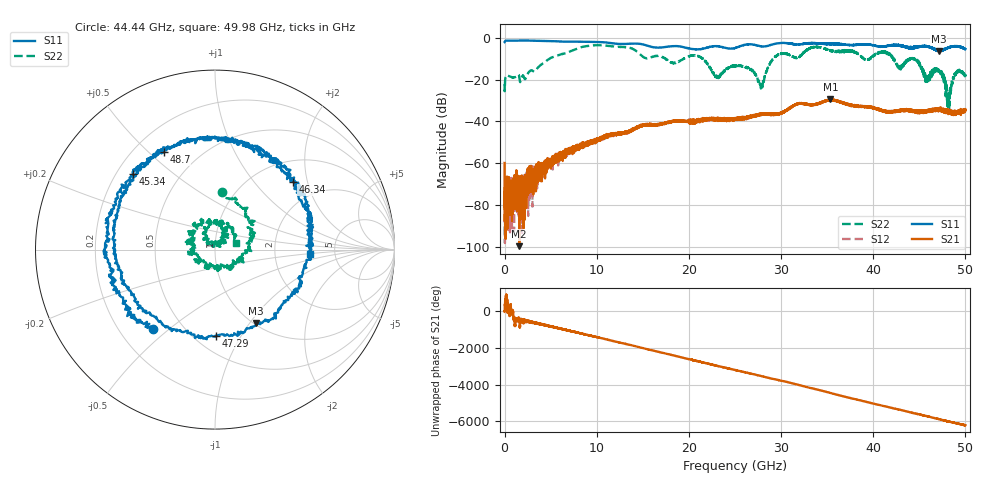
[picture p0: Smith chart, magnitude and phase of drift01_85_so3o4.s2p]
!Created with skrf (http://scikit-rf.org).
# Hz S RI R 50.0
!freq ReS11 ImS11 ReS21 ImS21 ReS12 ImS12 ReS22 ImS22
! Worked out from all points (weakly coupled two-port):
!   10001 points, 300 kHz to 50 GHz, reference 50 ohm
!   highest |S21| = -29.51 dB at 35.35 GHz (marker M1); lowest = -99.5 dB at 1.585 GHz (marker M2)
!   lowest |S11| = -6.6 dB at 47.1 GHz (marker M3), VSWR 2.77, Z = 51.2 - j53.8 ohm
!   |S11| at or under -10 dB: nowhere
!   |S22| runs from -36.2 to -3.6 dB; largest |S21 - S12| = 0.0042
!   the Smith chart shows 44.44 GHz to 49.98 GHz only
!   S11 on the Smith chart (normalised r, x): 44.44 GHz: 0.34, -0.44; 45.34 GHz: 0.27, +0.36; 46.34 GHz: 1.44, +1.62; 47.29 GHz: 0.63, -0.79; 48.7 GHz: 0.32, +0.56; 49.98 GHz: 3.23, -0.21
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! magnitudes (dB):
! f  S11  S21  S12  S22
! 300 kHz  -2.1  -59.8  -65.8  -22.2
! 255.3 MHz  -1.4  -76.4  -88.1  -18.0
! 1.585 GHz  -1.4  -99.5  -70.7  -18.6
! 8.335 GHz  -1.9  -51.6  -52.2  -4.5
! 16.67 GHz  -4.8  -41.6  -41.4  -8.6
! 20.99 GHz  -5.6  -39.5  -39.6  -8.8
! 23.1 GHz  -4.1  -38.6  -38.6  -18.6
! 25 GHz  -5.0  -39.0  -38.7  -13.5
! 27.87 GHz  -4.2  -36.7  -36.4  -22.7
! 29.44 GHz  -2.9  -36.6  -36.5  -9.0
! 33.34 GHz  -2.6  -32.0  -31.9  -4.8
! 35.35 GHz  -2.9  -29.5  -29.9  -6.3
! 41.67 GHz  -3.8  -35.0  -35.5  -8.1
! 44.44 GHz  -5.0  -35.4  -35.4  -9.9
! 45.34 GHz  -4.1  -35.7  -35.3  -16.3
! 46.34 GHz  -4.8  -34.6  -34.4  -17.1
! 47.1 GHz  -6.6  -34.7  -34.0  -15.7
! 47.29 GHz  -6.4  -34.3  -34.6  -16.9
! 48.19 GHz  -4.7  -35.7  -35.3  -30.1
! 48.7 GHz  -4.2  -35.7  -35.2  -19.2
! 49.98 GHz  -5.5  -35.0  -34.7  -18.2
! 50 GHz  -5.5  -34.3  -34.5  -18.1
